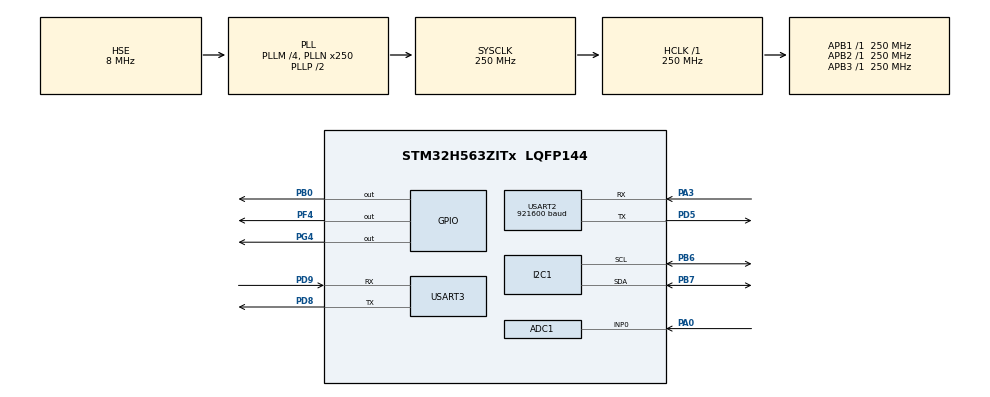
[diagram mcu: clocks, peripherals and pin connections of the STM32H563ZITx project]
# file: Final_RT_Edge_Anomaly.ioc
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ADC1.Channel-1\#ChannelRegularConversion=ADC_CHANNEL_0
ADC1.ClockPrescaler=ADC_CLOCK_SYNC_PCLK_DIV4
ADC1.MonitoredBy-1\#ChannelRegularConversion=__NULL
ADC1.NbrOfConversionFlag=1
ADC1.OffsetNumber-1\#ChannelRegularConversion=ADC_OFFSET_NONE
ADC1.Overrun=ADC_OVR_DATA_OVERWRITTEN
ADC1.Rank-1\#ChannelRegularConversion=1
ADC1.SamplingTime-1\#ChannelRegularConversion=ADC_SAMPLETIME_640CYCLES_5
ADC1.master=1
BOOTPATH.BootPathName=LEGACY
BOOTPATH.UserSelectedBootPath=LEGACY
CORTEX_M33_NS.userName=CORTEX_M33
I2C1.Timing=0x60808CD3
Mcu.Family=STM32H5
Mcu.Name=STM32H563ZITx
Mcu.Package=LQFP144
NVIC.PriorityGroup=NVIC_PRIORITYGROUP_4
PA0.Signal=ADCx_INP0
PA13(JTMS/SWDIO).Mode=Serial_Wire
PA13(JTMS/SWDIO).Signal=DEBUG_JTMS-SWDIO
PA14(JTCK/SWCLK).Mode=Serial_Wire
PA14(JTCK/SWCLK).Signal=DEBUG_JTCK-SWCLK
PA3.Mode=Asynchronous
PA3.Signal=USART2_RX
PB0.Signal=GPIO_Output
PB6.Mode=I2C
PB6.Signal=I2C1_SCL
PB7.Mode=I2C
PB7.Signal=I2C1_SDA
PC14-OSC32_IN(OSC32_IN).Mode=LSE-External-Oscillator
PC14-OSC32_IN(OSC32_IN).Signal=RCC_OSC32_IN
PC15-OSC32_OUT(OSC32_OUT).Mode=LSE-External-Oscillator
PC15-OSC32_OUT(OSC32_OUT).Signal=RCC_OSC32_OUT
PD5.Mode=Asynchronous
PD5.Signal=USART2_TX
PD8.Mode=Asynchronous
PD8.Signal=USART3_TX
PD9.Mode=Asynchronous
PD9.Signal=USART3_RX
PF4.Signal=GPIO_Output
PG4.Signal=GPIO_Output
PH0-OSC_IN(PH0).Mode=HSE-DIG-External-Clock-Source
PH0-OSC_IN(PH0).Signal=RCC_OSC_IN
ProjectManager.HeapSize=0x800
ProjectManager.StackSize=0x1000
ProjectManager.TargetToolchain=STM32CubeIDE
RCC.ADCFreq_Value=250000000
RCC.AHBFreq_Value=250000000
RCC.APB1Freq_Value=250000000
RCC.APB1TimFreq_Value=250000000
RCC.APB2Freq_Value=250000000
RCC.APB2TimFreq_Value=250000000
RCC.APB3Freq_Value=250000000
RCC.CSI_VALUE=4000000
RCC.CortexFreq_Value=250000000
RCC.EPOD_VALUE=8000000
RCC.HCLKFreq_Value=250000000
RCC.HSE_VALUE=8000000
RCC.HSI48_VALUE=48000000
RCC.HSIDiv=RCC_HSI_DIV1
RCC.HSI_VALUE=64000000
RCC.LSIRC_VALUE=32000
RCC.PLLM=4
RCC.PLLN=250
RCC.PLLSourceVirtual=RCC_PLL1_SOURCE_HSE
RCC.SYSCLKFreq_VALUE=250000000
RCC.SYSCLKSource=RCC_SYSCLKSOURCE_PLLCLK
RCC.USBFreq_Value=48000000
RCC.VCOOutputFreq_Value=500000000
SH.ADCx_INP0.0=ADC1_INP0,IN0-Single-Ended
USART2.BaudRate=921600
USART2.FIFOMode=FIFOMODE_ENABLE
USART2.VirtualMode-Asynchronous=VM_ASYNC
USART3.VirtualMode-Asynchronous=VM_ASYNC
VP_BOOTPATH_VS_BOOTPATH.Mode=BP_Activate
VP_CORTEX_M33_NS_VS_Hclk.Mode=Hclk_Mode
VP_DCACHE1_VS_DCACHE.Mode=DCACHE_Activate
VP_ICACHE_VS_ICACHE.Mode=DefaultMode
VP_MEMORYMAP_VS_MEMORYMAP.Mode=CurAppReg
VP_PWR_VS_LPOM.Mode=PowerOptimisation
VP_PWR_VS_SECSignals.Mode=Security/Privilege
board=NUCLEO-H563ZI

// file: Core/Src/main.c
/* USER CODE BEGIN Header */
/**
  ******************************************************************************
  * @file           : main.c
  * @brief          : Main program body
  ******************************************************************************
  * @attention
  *
  * Copyright (c) 2025 STMicroelectronics.
  * All rights reserved.
  *
  * This software is licensed under terms that can be found in the LICENSE file
  * in the root directory of this software component.
  * If no LICENSE file comes with this software, it is provided AS-IS.
  *
  ******************************************************************************
  */
/* USER CODE END Header */
#include "main.h"

/* USER CODE BEGIN PTD */
//typedef struct {
//    uint32_t red;
//    uint32_t ir;
//} PPGSample_t;
/* USER CODE END PTD */

ADC_HandleTypeDef hadc1;

DCACHE_HandleTypeDef hdcache1;

I2C_HandleTypeDef hi2c1;

UART_HandleTypeDef huart2;
UART_HandleTypeDef huart3;

/* USER CODE BEGIN PV */
TaskHandle_t spo2_handle;
TaskHandle_t ecg_handle;
BaseType_t status;

//static QueueHandle_t xMAX30102Queue;
/* USER CODE END PV */

void SystemClock_Config(void);
static void MX_GPIO_Init(void);
static void MX_I2C1_Init(void);
static void MX_USART3_UART_Init(void);
static void MX_ADC1_Init(void);
static void MX_USART2_UART_Init(void);
static void MX_ICACHE_Init(void);
static void MX_DCACHE1_Init(void);
/* USER CODE BEGIN PFP */
void spo2_handler(void * parameters);
void ECGSamplingTask(void *pvParameters);
void ECGTask_Init(void);
/* USER CODE END PFP */

/* USER CODE BEGIN 0 */
void vApplicationStackOverflowHook(TaskHandle_t xTask, char *pcTaskName) {
    char buf[64];
    snprintf(buf, sizeof(buf), "Stack overflow in %s\r\n", pcTaskName);
    HAL_UART_Transmit(&huart3, (uint8_t*)buf, strlen(buf), HAL_MAX_DELAY);
    taskDISABLE_INTERRUPTS();
    while (1);
}

void spo2_handler(void * parameters){
	TickType_t last_wake = xTaskGetTickCount();
//	 PPGSample_t sample;
	while(1){
		vTaskDelayUntil(&last_wake, pdMS_TO_TICKS(1000));
		HAL_UART_Transmit(&huart3, (uint8_t *)"Hello from spo2\r\n", sizeof("Hello from spo2\r\n"), 100);
		HAL_GPIO_TogglePin(GPIOB, GPIO_PIN_0);
//		if (MAX30102_ReadSample(&sample.red, &sample.ir)) {
//		            /* send to queue (non-blocking) */
//		            xQueueSend(xMAX30102Queue, &sample, 0);
//		}
//		 /* If no finger, skip but still delay */
//		vTaskDelay(pdMS_TO_TICKS(50));  // 20 Hz sampling
//		vTaskDelay(pdMS_TO_TICKS(10000));
	}
}

/* USER CODE END 0 */

int main(void)
{

  /* MCU Configuration--------------------------------------------------------*/

  /* Reset of all peripherals, Initializes the Flash interface and the Systick. */
  HAL_Init();

  /* Configure the system clock */
  SystemClock_Config();

  /* USER CODE BEGIN SysInit */
  /* init sensor */
//  MAX30102_Init(&hi2c1);
  /* USER CODE END SysInit */

  /* Initialize all configured peripherals */
  MX_GPIO_Init();
  MX_I2C1_Init();
  MX_USART3_UART_Init();
  MX_ADC1_Init();
  MX_USART2_UART_Init();
  MX_ICACHE_Init();
  MX_DCACHE1_Init();
  /* USER CODE BEGIN 2 */
  ECGTask_Init();

  status = xTaskCreate(spo2_handler, "max30102", 400, NULL, 2, &spo2_handle);
  configASSERT(status == pdPASS);

  status = xTaskCreate(ECGSamplingTask, "ECGTask", 8192, NULL, 3, &ecg_handle);
  configASSERT(status == pdPASS);

  /* create queue for 10 samples */
//  xMAX30102Queue = xQueueCreate(10, sizeof(PPGSample_t));

  vTaskStartScheduler();
  /* USER CODE END 2 */

  /* Infinite loop */
  while (1)
  {

  }
}

void SystemClock_Config(void)
{
  RCC_OscInitTypeDef RCC_OscInitStruct = {0};
  RCC_ClkInitTypeDef RCC_ClkInitStruct = {0};

  /** Configure the main internal regulator output voltage
  */
  __HAL_PWR_VOLTAGESCALING_CONFIG(PWR_REGULATOR_VOLTAGE_SCALE0);

  while(!__HAL_PWR_GET_FLAG(PWR_FLAG_VOSRDY)) {}

  /** Initializes the RCC Oscillators according to the specified parameters
  * in the RCC_OscInitTypeDef structure.
  */
  RCC_OscInitStruct.OscillatorType = RCC_OSCILLATORTYPE_HSE;
  RCC_OscInitStruct.HSEState = RCC_HSE_BYPASS_DIGITAL;
  RCC_OscInitStruct.PLL.PLLState = RCC_PLL_ON;
  RCC_OscInitStruct.PLL.PLLSource = RCC_PLL1_SOURCE_HSE;
  RCC_OscInitStruct.PLL.PLLM = 4;
  RCC_OscInitStruct.PLL.PLLN = 250;
  RCC_OscInitStruct.PLL.PLLP = 2;
  RCC_OscInitStruct.PLL.PLLQ = 2;
  RCC_OscInitStruct.PLL.PLLR = 2;
  RCC_OscInitStruct.PLL.PLLRGE = RCC_PLL1_VCIRANGE_1;
  RCC_OscInitStruct.PLL.PLLVCOSEL = RCC_PLL1_VCORANGE_WIDE;
  RCC_OscInitStruct.PLL.PLLFRACN = 0;
  if (HAL_RCC_OscConfig(&RCC_OscInitStruct) != HAL_OK)
  {
    Error_Handler();
  }

  /** Initializes the CPU, AHB and APB buses clocks
  */
  RCC_ClkInitStruct.ClockType = RCC_CLOCKTYPE_HCLK|RCC_CLOCKTYPE_SYSCLK
                              |RCC_CLOCKTYPE_PCLK1|RCC_CLOCKTYPE_PCLK2
                              |RCC_CLOCKTYPE_PCLK3;
  RCC_ClkInitStruct.SYSCLKSource = RCC_SYSCLKSOURCE_PLLCLK;
  RCC_ClkInitStruct.AHBCLKDivider = RCC_SYSCLK_DIV1;
  RCC_ClkInitStruct.APB1CLKDivider = RCC_HCLK_DIV1;
  RCC_ClkInitStruct.APB2CLKDivider = RCC_HCLK_DIV1;
  RCC_ClkInitStruct.APB3CLKDivider = RCC_HCLK_DIV1;

  if (HAL_RCC_ClockConfig(&RCC_ClkInitStruct, FLASH_LATENCY_5) != HAL_OK)
  {
    Error_Handler();
  }

  /** Configure the programming delay
  */
  __HAL_FLASH_SET_PROGRAM_DELAY(FLASH_PROGRAMMING_DELAY_2);
}

static void MX_ADC1_Init(void)
{

  ADC_ChannelConfTypeDef sConfig = {0};

  /** Common config
  */
  hadc1.Instance = ADC1;
  hadc1.Init.ClockPrescaler = ADC_CLOCK_SYNC_PCLK_DIV4;
  hadc1.Init.Resolution = ADC_RESOLUTION_12B;
  hadc1.Init.DataAlign = ADC_DATAALIGN_RIGHT;
  hadc1.Init.ScanConvMode = ADC_SCAN_DISABLE;
  hadc1.Init.EOCSelection = ADC_EOC_SINGLE_CONV;
  hadc1.Init.LowPowerAutoWait = DISABLE;
  hadc1.Init.ContinuousConvMode = DISABLE;
  hadc1.Init.NbrOfConversion = 1;
  hadc1.Init.DiscontinuousConvMode = DISABLE;
  hadc1.Init.ExternalTrigConv = ADC_SOFTWARE_START;
  hadc1.Init.ExternalTrigConvEdge = ADC_EXTERNALTRIGCONVEDGE_NONE;
  hadc1.Init.DMAContinuousRequests = DISABLE;
  hadc1.Init.SamplingMode = ADC_SAMPLING_MODE_NORMAL;
  hadc1.Init.Overrun = ADC_OVR_DATA_OVERWRITTEN;
  hadc1.Init.OversamplingMode = DISABLE;
  if (HAL_ADC_Init(&hadc1) != HAL_OK)
  {
    Error_Handler();
  }

  /** Configure Regular Channel
  */
  sConfig.Channel = ADC_CHANNEL_0;
  sConfig.Rank = ADC_REGULAR_RANK_1;
  sConfig.SamplingTime = ADC_SAMPLETIME_640CYCLES_5;
  sConfig.SingleDiff = ADC_SINGLE_ENDED;
  sConfig.OffsetNumber = ADC_OFFSET_NONE;
  sConfig.Offset = 0;
  if (HAL_ADC_ConfigChannel(&hadc1, &sConfig) != HAL_OK)
  {
    Error_Handler();
  }

}

static void MX_DCACHE1_Init(void)
{

  hdcache1.Instance = DCACHE1;
  hdcache1.Init.ReadBurstType = DCACHE_READ_BURST_WRAP;
  if (HAL_DCACHE_Init(&hdcache1) != HAL_OK)
  {
    Error_Handler();
  }

}

static void MX_I2C1_Init(void)
{

  hi2c1.Instance = I2C1;
  hi2c1.Init.Timing = 0x60808CD3;
  hi2c1.Init.OwnAddress1 = 0;
  hi2c1.Init.AddressingMode = I2C_ADDRESSINGMODE_7BIT;
  hi2c1.Init.DualAddressMode = I2C_DUALADDRESS_DISABLE;
  hi2c1.Init.OwnAddress2 = 0;
  hi2c1.Init.OwnAddress2Masks = I2C_OA2_NOMASK;
  hi2c1.Init.GeneralCallMode = I2C_GENERALCALL_DISABLE;
  hi2c1.Init.NoStretchMode = I2C_NOSTRETCH_DISABLE;
  if (HAL_I2C_Init(&hi2c1) != HAL_OK)
  {
    Error_Handler();
  }

  /** Configure Analogue filter
  */
  if (HAL_I2CEx_ConfigAnalogFilter(&hi2c1, I2C_ANALOGFILTER_ENABLE) != HAL_OK)
  {
    Error_Handler();
  }

  /** Configure Digital filter
  */
  if (HAL_I2CEx_ConfigDigitalFilter(&hi2c1, 0) != HAL_OK)
  {
    Error_Handler();
  }

}

static void MX_ICACHE_Init(void)
{

  /** Enable instruction cache (default 2-ways set associative cache)
  */
  if (HAL_ICACHE_Enable() != HAL_OK)
  {
    Error_Handler();
  }

}

static void MX_USART2_UART_Init(void)
{

  huart2.Instance = USART2;
  huart2.Init.BaudRate = 921600;
  huart2.Init.WordLength = UART_WORDLENGTH_8B;
  huart2.Init.StopBits = UART_STOPBITS_1;
  huart2.Init.Parity = UART_PARITY_NONE;
  huart2.Init.Mode = UART_MODE_TX_RX;
  huart2.Init.HwFlowCtl = UART_HWCONTROL_NONE;
  huart2.Init.OverSampling = UART_OVERSAMPLING_16;
  huart2.Init.OneBitSampling = UART_ONE_BIT_SAMPLE_DISABLE;
  huart2.Init.ClockPrescaler = UART_PRESCALER_DIV1;
  huart2.AdvancedInit.AdvFeatureInit = UART_ADVFEATURE_NO_INIT;
  if (HAL_UART_Init(&huart2) != HAL_OK)
  {
    Error_Handler();
  }
  if (HAL_UARTEx_SetTxFifoThreshold(&huart2, UART_TXFIFO_THRESHOLD_1_8) != HAL_OK)
  {
    Error_Handler();
  }
  if (HAL_UARTEx_SetRxFifoThreshold(&huart2, UART_RXFIFO_THRESHOLD_1_8) != HAL_OK)
  {
    Error_Handler();
  }
  if (HAL_UARTEx_EnableFifoMode(&huart2) != HAL_OK)
  {
    Error_Handler();
  }

}

static void MX_USART3_UART_Init(void)
{

  huart3.Instance = USART3;
  huart3.Init.BaudRate = 115200;
  huart3.Init.WordLength = UART_WORDLENGTH_8B;
  huart3.Init.StopBits = UART_STOPBITS_1;
  huart3.Init.Parity = UART_PARITY_NONE;
  huart3.Init.Mode = UART_MODE_TX_RX;
  huart3.Init.HwFlowCtl = UART_HWCONTROL_NONE;
  huart3.Init.OverSampling = UART_OVERSAMPLING_16;
  huart3.Init.OneBitSampling = UART_ONE_BIT_SAMPLE_DISABLE;
  huart3.Init.ClockPrescaler = UART_PRESCALER_DIV1;
  huart3.AdvancedInit.AdvFeatureInit = UART_ADVFEATURE_NO_INIT;
  if (HAL_UART_Init(&huart3) != HAL_OK)
  {
    Error_Handler();
  }
  if (HAL_UARTEx_SetTxFifoThreshold(&huart3, UART_TXFIFO_THRESHOLD_1_8) != HAL_OK)
  {
    Error_Handler();
  }
  if (HAL_UARTEx_SetRxFifoThreshold(&huart3, UART_RXFIFO_THRESHOLD_1_8) != HAL_OK)
  {
    Error_Handler();
  }
  if (HAL_UARTEx_DisableFifoMode(&huart3) != HAL_OK)
  {
    Error_Handler();
  }

}

static void MX_GPIO_Init(void)
{
  GPIO_InitTypeDef GPIO_InitStruct = {0};

  /* GPIO Ports Clock Enable */
  __HAL_RCC_GPIOC_CLK_ENABLE();
  __HAL_RCC_GPIOF_CLK_ENABLE();
  __HAL_RCC_GPIOH_CLK_ENABLE();
  __HAL_RCC_GPIOA_CLK_ENABLE();
  __HAL_RCC_GPIOB_CLK_ENABLE();
  __HAL_RCC_GPIOD_CLK_ENABLE();
  __HAL_RCC_GPIOG_CLK_ENABLE();

  /*Configure GPIO pin Output Level */
  HAL_GPIO_WritePin(GPIOF, GPIO_PIN_4, GPIO_PIN_RESET);

  /*Configure GPIO pin Output Level */
  HAL_GPIO_WritePin(GPIOB, GPIO_PIN_0, GPIO_PIN_RESET);

  /*Configure GPIO pin Output Level */
  HAL_GPIO_WritePin(GPIOG, GPIO_PIN_4, GPIO_PIN_RESET);

  /*Configure GPIO pin : PF4 */
  GPIO_InitStruct.Pin = GPIO_PIN_4;
  GPIO_InitStruct.Mode = GPIO_MODE_OUTPUT_PP;
  GPIO_InitStruct.Pull = GPIO_NOPULL;
  GPIO_InitStruct.Speed = GPIO_SPEED_FREQ_LOW;
  HAL_GPIO_Init(GPIOF, &GPIO_InitStruct);

  /*Configure GPIO pin : PB0 */
  GPIO_InitStruct.Pin = GPIO_PIN_0;
  GPIO_InitStruct.Mode = GPIO_MODE_OUTPUT_PP;
  GPIO_InitStruct.Pull = GPIO_NOPULL;
  GPIO_InitStruct.Speed = GPIO_SPEED_FREQ_LOW;
  HAL_GPIO_Init(GPIOB, &GPIO_InitStruct);

  /*Configure GPIO pin : PG4 */
  GPIO_InitStruct.Pin = GPIO_PIN_4;
  GPIO_InitStruct.Mode = GPIO_MODE_OUTPUT_PP;
  GPIO_InitStruct.Pull = GPIO_NOPULL;
  GPIO_InitStruct.Speed = GPIO_SPEED_FREQ_LOW;
  HAL_GPIO_Init(GPIOG, &GPIO_InitStruct);

}

void Error_Handler(void)
{
  __disable_irq();
  while (1)
  {
  }
}
